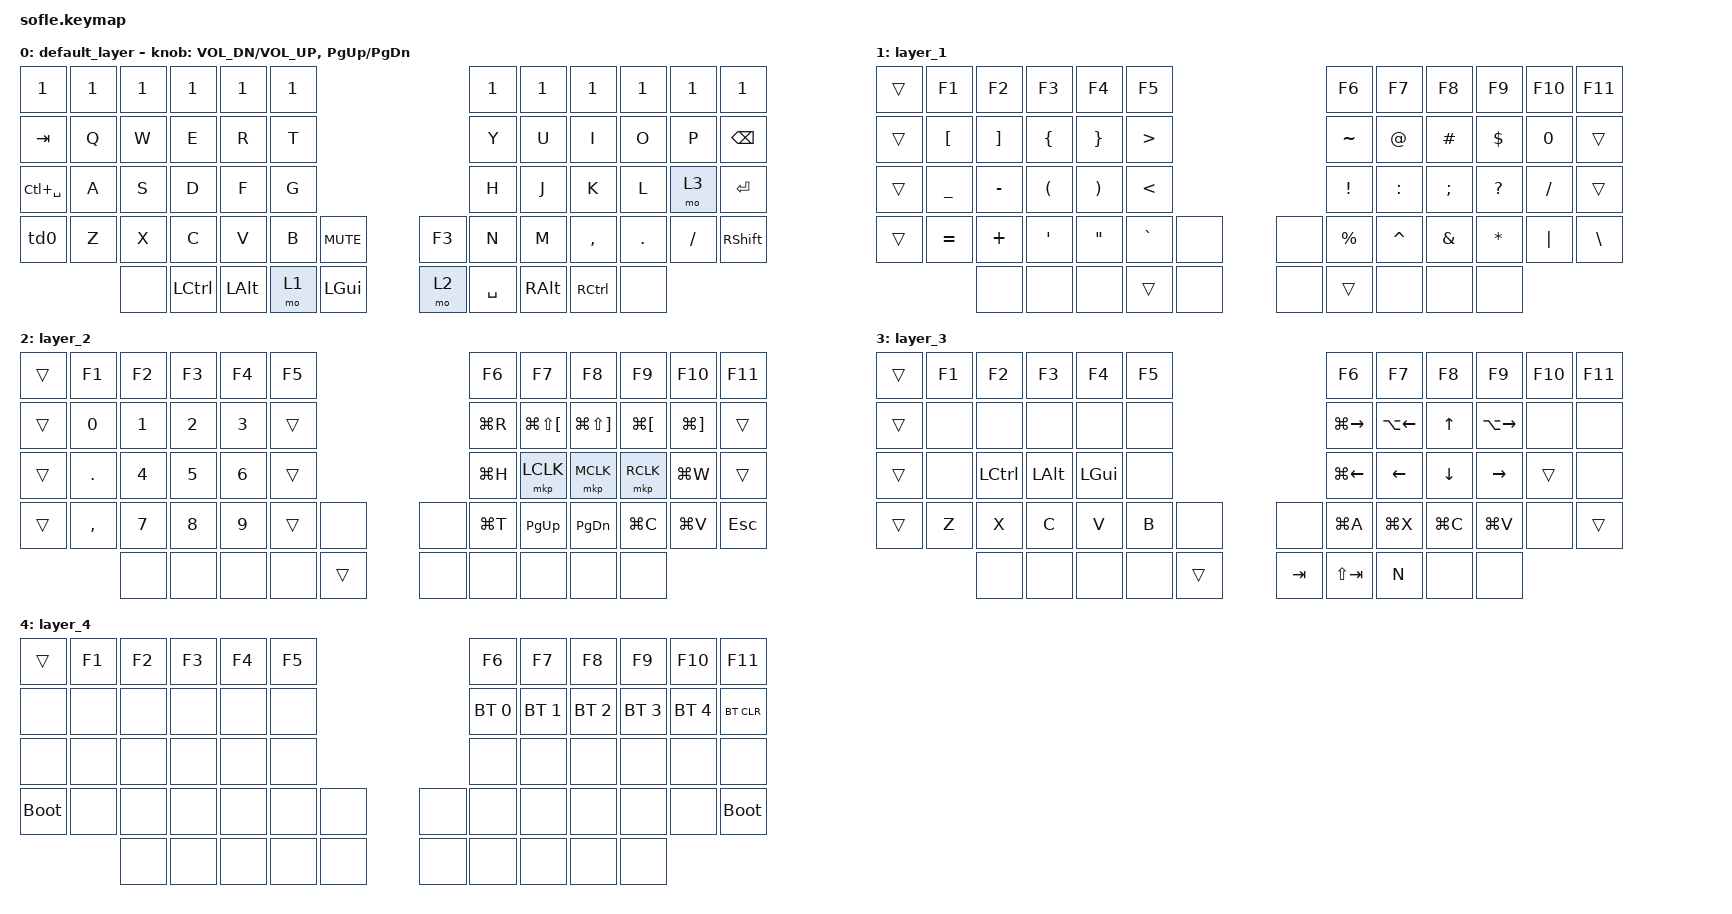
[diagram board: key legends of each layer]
/*
 * Copyright (c) 2020 The ZMK Contributors
 *
 * SPDX-License-Identifier: MIT
 */

#include <behaviors.dtsi>
#include <dt-bindings/zmk/keys.h>
#include <dt-bindings/zmk/bt.h>
#include <dt-bindings/zmk/mouse.h>

/*
 * 
 * how to flash: 
 * press two key in the bottom, then DOUBLE click left most key, then it will go into boot mod
 *  
 * layer index:
 *
 * start with 0 (this row not used)
 * start with 12, 18
 * start with 24, 30
 * start with 36, 44
 * start with 50
 */

/ {
// this is used to change to caps lock when shift is double clicked
    behaviors {
        td0: tap_dance_0 {
            compatible = "zmk,behavior-tap-dance";
            label = "TAP_DANCE_0";
            #binding-cells = <0>;
            tapping-term-ms = <200>;
            bindings = <&kp LSHFT>, <&kp CLCK>;
        };
    };

    keymap {
        compatible = "zmk,keymap";

        default_layer {
            bindings = <
&kp N1    &kp N1 &kp N1   &kp N1   &kp N1    &kp N1                      &kp N1 &kp N1    &kp N1    &kp N1   &kp N1   &kp N1

&kp TAB   &kp Q  &kp W    &kp E    &kp R     &kp T                       &kp Y  &kp U     &kp I     &kp O    &kp P    &kp BSPC
&kp LC(SPACE) &kp A  &kp S    &kp D    &kp F     &kp G                      &kp H  &kp J     &kp K     &kp L    &mo 3   &kp RET
&td0 &kp Z  &kp X    &kp C    &kp V     &kp B  &kp C_MUTE  &kp F3   &kp N  &kp M     &kp COMMA &kp DOT  &kp FSLH &kp RSHFT
                 &none &kp LCTRL &kp LALT &mo 1  &kp LGUI      &mo 2     &kp SPACE  &kp RALT   &kp RCTRL   &none
            >;
sensor-bindings = <&inc_dec_kp C_VOL_DN C_VOL_UP &inc_dec_kp PG_UP PG_DN>;

        };

        layer_1 {
            bindings = <
&trans    &kp F1    &kp F2    &kp F3      &kp F4    &kp F5                    &kp F6    &kp F7   &kp F8          &kp F9    &kp F10   &kp F11

&trans    &kp LBKT   &kp RBKT   &kp LBRC  &kp RBRC   &kp GT                 &kp TILDE &kp AT   &kp POUND      &kp DLLR     &kp N0  &trans
&trans    &kp UNDER  &kp MINUS  &kp LPAR  &kp RPAR   &kp LT                 &kp EXCL  &kp COLON   &kp SEMI    &kp QMARK   &kp FSLH  &trans
&trans    &kp EQUAL  &kp PLUS   &kp SQT   &kp DQT    &kp GRAVE &none  &none   &kp PRCNT &kp CARET   &kp AMPS    &kp STAR    &kp PIPE  &kp BSLH
                      &none     &none    &none       &trans     &none   &none  &trans     &none       &none       &none
            >;
        };

        layer_2 {
            bindings = <
&trans    &kp F1    &kp F2    &kp F3      &kp F4    &kp F5                    &kp F6    &kp F7   &kp F8          &kp F9    &kp F10   &kp F11

&trans    &kp N0  &kp N1  &kp N2  &kp N3  &trans                     &kp LG(R)   &kp LG(LS(LBKT)) &kp LG(LS(RBKT))  &kp LG(LBKT)  &kp LG(RBKT)  &trans
&trans  &kp DOT  &kp N4  &kp N5  &kp N6  &trans                      &kp LG(H)   &mkp LCLK        &mkp MCLK         &mkp RCLK       &kp LG(W)    &trans
&trans  &kp COMMA  &kp N7  &kp N8  &kp N9  &trans  &none     &none   &kp LG(T)   &kp PG_UP        &kp PG_DN         &kp LG(C)     &kp LG(V)    &kp ESC
                   &none   &none   &none   &none   &trans     &none   &none     &none              &none            &none

           >;
        };

        layer_3 {
            bindings = <
&trans    &kp F1    &kp F2    &kp F3      &kp F4    &kp F5                    &kp F6    &kp F7   &kp F8          &kp F9    &kp F10   &kp F11

&trans   &none     &none    &none       &none     &none                 &kp LG(RIGHT)    &kp LA(LEFT)    &kp UP     &kp LA(RIGHT)  &none  &none
&trans   &none     &kp LCTRL  &kp LALT  &kp LGUI  &none                 &kp LG(LEFT)     &kp LEFT        &kp DOWN   &kp RIGHT  &trans  &none
&trans   &kp Z     &kp X     &kp C      &kp V     &kp B &none  &none    &kp LG(A)        &kp LG(X)       &kp LG(C)     &kp LG(V)  &none  &trans
                   &none   &none   &none   &none   &trans     &kp TAB   &kp LS(TAB)      &kp N           &none       &none
           >;
        };

        layer_4 {
            bindings = <
&trans    &kp F1    &kp F2    &kp F3      &kp F4    &kp F5                    &kp F6    &kp F7   &kp F8          &kp F9    &kp F10   &kp F11

&none   &none &none &none &none &none               &bt BT_SEL 0 &bt BT_SEL 1 &bt BT_SEL 2 &bt BT_SEL 3 &bt BT_SEL 4  &bt BT_CLR
&none   &none &none &none &none &none               &none        &none        &none        &none        &none         &none
&bootloader   &none &none &none &none &none &none &none &none &none &none &none &none &bootloader 
              &none &none &none &none &none &none &none &none &none &none
           >;
        };
    };
};

/ {
    combos {
        compatible = "zmk,combos";
// this is used for switch between apps
        combo_1 {
            layers = <0>;
            timeout-ms = <50>;
            key-positions = <31 32>;
            bindings = <&press_gui>;
        };
// this is used for set BLE profile, and delete
        combo_2 {
            layers = <0>;
            timeout-ms = <50>;
            key-positions = <50 51>;
            bindings = <&mo 4>;
        };
// this is used for selecting all
        combo_3 {
            layers = <2>;
            timeout-ms = <50>;
            key-positions = <31 32>;
            bindings = <&kp LG(A)>;
        };
//  command + space: search
        combo_4 {
            timeout-ms = <50>;
            key-positions = <32 33>;
            bindings = <&kp LG(SPACE)>;
        };
//  option + space: used to switch input source
//        combo_5 {
//            timeout-ms = <50>;
//            key-positions = <27 28>;
//            bindings = <&kp LC(SPACE)>;
//        };

//  command + N: open new window
        combo_6 {
            timeout-ms = <50>;
            key-positions = <31 33>;
            bindings = <&kp LG(N)>;
        };

//  ctl + alt + Left: move window to left 1/3
        combo_7 {
            timeout-ms = <50>;
            key-positions = <45 46>;
            bindings = <&kp LG(LA(LEFT))>;
        };

//  ctl + alt + down: move window to middle 1/3
        combo_8 {
            timeout-ms = <50>;
            key-positions = <46 47>;
            bindings = <&kp LG(LA(DOWN))>;
        };

//  ctl + alt + right: move window to right 1/3
        combo_9 {
            timeout-ms = <50>;
            key-positions = <47 48>;
            bindings = <&kp LG(LA(RIGHT))>;
        };

//  command + option + left: move window to left 2/3
        combo_10 {
            timeout-ms = <50>;
            key-positions = <45 47>;
            bindings = <&kp LG(LC(LEFT))>;
        };

//  command + option + right: move window to right 2/3
        combo_11 {
            timeout-ms = <50>;
            key-positions = <46 48>;
            bindings = <&kp LG(LC(RIGHT))>;
        };

//  alt + option + left: move window to left 1/2
        combo_12 {
            timeout-ms = <50>;
            key-positions = <45 46 47>;
            bindings = <&kp LC(LA(LEFT))>;
        };

//  alt + option + right: move window to right 1/2
        combo_13 {
            timeout-ms = <50>;
            key-positions = <46 47 48>;
            bindings = <&kp LC(LA(RIGHT))>;
        };


// add more here

    };
};


/ {
    macros {
        press_gui: press_gui {
            label = "ZM_press_gui";
            compatible = "zmk,behavior-macro";
            #binding-cells = <0>;
            bindings
                = <&macro_press &mo 3 &kp LGUI>
                , <&macro_pause_for_release>
                , <&macro_release &mo 3 &kp LGUI>
                ;
        };
    };
};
